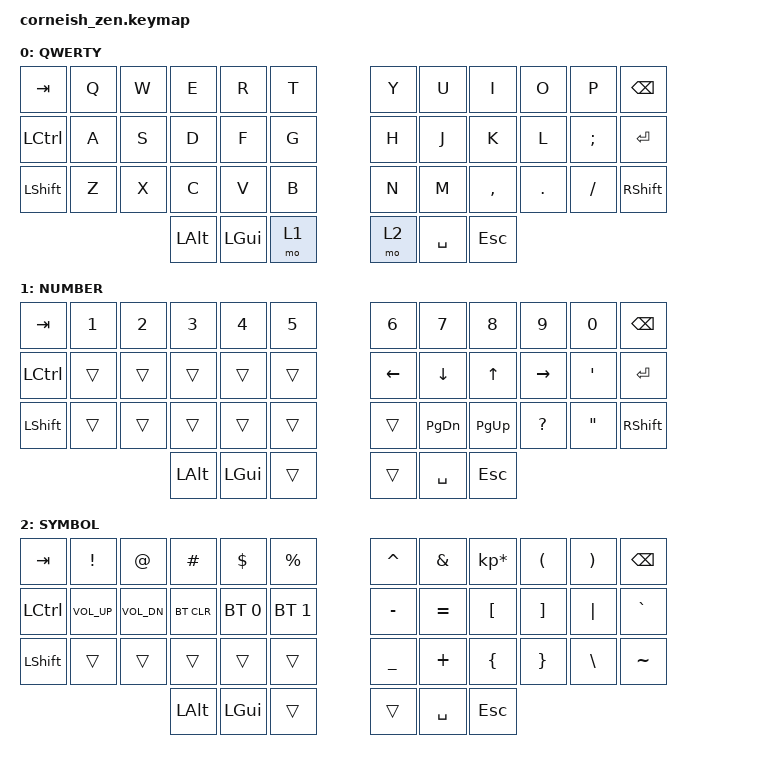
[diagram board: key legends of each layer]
#include <behaviors.dtsi>
#include <dt-bindings/zmk/keys.h>
#include <dt-bindings/zmk/bt.h>

/ {
  chosen {
    zmk,matrix_transform = &default_transform;
    //zmk,matrix_transform = &five_column_transform;
  };
};

/ {
        keymap {
                compatible = "zmk,keymap";

                default_layer {
                        label = "QWERTY";
// -----------------------------------------------------------------------------------------
// |  TAB |  Q  |  W  |  E  |  R  |  T  |   |  Y  |  U   |  I  |  O  |  P  | BKSP |
// | CTRL |  A  |  S  |  D  |  F  |  G  |   |  H  |  J   |  K  |  L  |  ;  | ENT  |
// | SHFT |  Z  |  X  |  C  |  V  |  B  |   |  N  |  M   |  ,  |  .  |  /  | SHFT |
//                    | ALT | GUI | LWR |   | RSE | SPC  | ESC |
                        bindings = <
   &kp TAB    &kp Q  &kp W  &kp E  &kp R  &kp T    &kp Y  &kp U  &kp I     &kp O   &kp P    &kp BSPC
   &kp LCTRL  &kp A  &kp S  &kp D  &kp F  &kp G    &kp H  &kp J  &kp K     &kp L   &kp SEMI &kp RET
   &kp LSHFT  &kp Z  &kp X  &kp C  &kp V  &kp B    &kp N  &kp M  &kp COMMA &kp DOT &kp FSLH &kp RSHFT
                         &kp LALT &kp LGUI &mo 1   &mo 2 &kp SPACE &kp ESC
                        >;
                };
                lower_layer {
                        label = "NUMBER";
// -----------------------------------------------------------------------------------------
// |  TAB |  1  |  2  |  3  |  4  |  5  |   |  6  |  7  |  8  |  9  |  0  | BKSP |
// | CTRL |     |     |     |     |     |   | LFT | DWN |  UP | RGT |  '  | ENT  |
// | SHFT |     |     |     |     |     |   |     |PG_DN|PG_UP|  ?  |  "  | SHFT |
//                    | ALT | GUI |     |   |     | SPC | ESC |
                        bindings = <
   &kp TAB    &kp N1  &kp N2  &kp N3  &kp N4  &kp N5    &kp N6    &kp N7     &kp N8     &kp N9     &kp N0   &kp BSPC
   &kp LCTRL  &trans  &trans  &trans  &trans  &trans    &kp LEFT  &kp DOWN   &kp UP     &kp RIGHT  &kp SQT  &kp RET
   &kp LSHFT  &trans  &trans  &trans  &trans  &trans    &trans    &kp PG_DN  &kp PG_UP  &kp QMARK  &kp DQT  &kp RSHFT
                          	            &kp LALT     &kp LGUI     &trans         &trans    &kp SPACE  &kp ESC
                        >;
                };

                raise_layer {
                        label = "SYMBOL";
// -----------------------------------------------------------------------------------------
// |  TAB |  !  |  @  |  #  |  $  |  %  |   |  ^  |  &  |  *  |  (  |  )  | BKSP |
// | CTRL |VL_UP|VL_DN|BTCLR| BT_1| BT_2|   |  -  |  =  |  [  |  ]  | "|" |  `   |
// | SHFT |     |     |     |     |     |   |  _  |  +  |  {  |  }  |  \  |  ~   |
//                    | ALT | GUI |     |   |     | SPC | ESC |
                        bindings = <
   &kp  TAB  &kp EXCL     &kp AT       &kp HASH    &kp DLLR     &kp PRCNT        &kp CARET &kp AMPS  &kp KP_MULTIPLY &kp LPAR &kp RPAR &kp BSPC
   &kp LCTRL &kp C_VOL_UP &kp C_VOL_DN &bt BT_CLR  &bt BT_SEL 0 &bt BT_SEL 1     &kp MINUS &kp EQUAL &kp LBKT        &kp RBKT &kp PIPE &kp GRAVE
   &kp LSHFT &trans       &trans       &trans      &trans       &trans           &kp UNDER &kp PLUS  &kp LBRC        &kp RBRC &kp BSLH &kp TILDE
                    	         &kp LALT &kp LGUI &trans      &trans    &kp SPACE &kp ESC
                        >;
                };
        };
};
